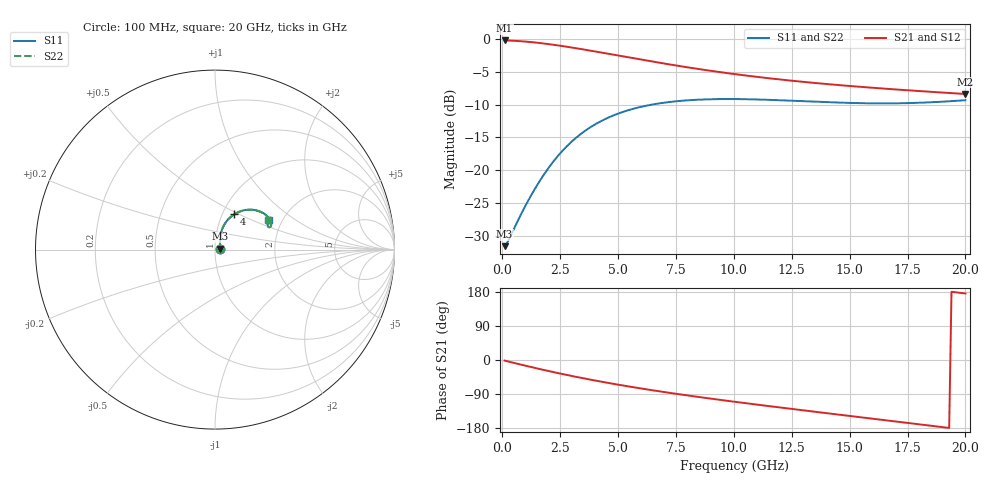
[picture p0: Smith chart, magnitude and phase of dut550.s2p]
! Touchstone file exported from HFSS 2024.1.0
!  File:  C:/UserFiles/LocalFiles/RDL_TSV_Batchsim/temp_RDL_TSV_550_1779749608.aedt
!  Generated:  07:08:42 AM May 26, 2026
!  Design:  RDL_TSV
!  Project:  temp_RDL_TSV_550_1779749608
!  Setup:  Setup1
!  Solution:  Sweep
! Variables:
!  dtsv = 7.68um
!  hbump = 3um
!  htsv = 80.23um
!  ldown = 284.81um
!  lrdl = 396.49um
!  p = 40
!  p1 = 41.1um
!  rhole = 10um
!  subl = 2440.39um
!  t = 450um
!  tdown = 2.51um
!  trdl = 2.68um
!  viad = 10um
!  wdown = 14.48um
!  wrdl = 12.02um
!  xbump = 18um
# GHz S MA R 50.000000
! Terminal data exported
! Port[1] = TM1_1_T1
! Port[2] = TM1_4_T1
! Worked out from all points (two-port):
!   200 points, 100 MHz to 20 GHz, reference 50 ohm
!   highest |S21| = -0.23 dB at 100 MHz (marker M1); lowest = -8.4 dB at 20 GHz (marker M2)
!   |S21| within 3 dB of the highest: start of sweep to 6.136 GHz
!   lowest |S11| = -31.6 dB at 100 MHz (marker M3), VSWR 1.05, Z = 52.7 + j0.507 ohm
!   |S11| at or under -10 dB: start of sweep to 6.464 GHz
!   |S22| runs from -31.6 to -9.2 dB; largest |S21 - S12| = 8.4e-15
!   S11 on the Smith chart (normalised r, x): 100 MHz: 1.05, +0.01; 4 GHz: 1.13, +0.47; 20 GHz: 1.70, +0.64
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0.1  0.02641 10.5  0.9738 -1.5  0.9738 -1.5  0.02641 10.5
! Gamma 0 0 0 0
! Port Impedance 50 0 50 0
0.3  0.03008 28.2  0.9718 -4.6  0.9718 -4.6  0.03009 28.2
0.9  0.04973 55.6  0.9582 -13.6  0.9582 -13.6  0.04973 55.6
1.4  0.07175 65.9  0.9405 -20.8  0.9405 -20.8  0.07174 65.8
1.9  0.09857 70.1  0.9184 -27.8  0.9184 -27.8  0.09851 70.0
2.3  0.1223 70.7  0.8984 -33.1  0.8984 -33.1  0.1222 70.6
2.7  0.147 69.7  0.8771 -38.3  0.8771 -38.3  0.1468 69.6
3.5  0.1953 65.2  0.8322 -48.2  0.8322 -48.2  0.195 65.1
4  0.2231 61.6  0.8038 -54.1  0.8038 -54.1  0.2227 61.5
4.6  0.2527 57.1  0.77 -60.8  0.77 -60.8  0.2522 57.0
5.3  0.2815 51.8  0.732 -68.2  0.732 -68.2  0.2809 51.8
6  0.3043 46.9  0.6961 -75.2  0.6961 -75.2  0.3035 46.9
6.8  0.3235 41.9  0.6582 -82.8  0.6582 -82.8  0.3226 41.8
7.6  0.3364 37.4  0.6238 -90.0  0.6238 -90.0  0.3354 37.4
8.4  0.3442 33.6  0.593 -96.9  0.593 -96.9  0.3431 33.5
10.1  0.3484 27.4  0.5381 -110.8  0.5381 -110.8  0.347 27.4
11.7  0.3429 23.9  0.4976 -123.1  0.4976 -123.1  0.3414 23.8
13.4  0.3334 22.3  0.4638 -135.8  0.4638 -135.8  0.3317 22.3
15  0.3257 22.6  0.4383 -147.6  0.4383 -147.6  0.3239 22.7
16.7  0.323 24.4  0.4159 -160.1  0.4159 -160.1  0.3213 24.6
18.3  0.3281 26.7  0.3978 -171.9  0.3978 -171.9  0.3265 26.9
20  0.3416 28.9  0.3808 175.6  0.3808 175.6  0.3403 29.2
